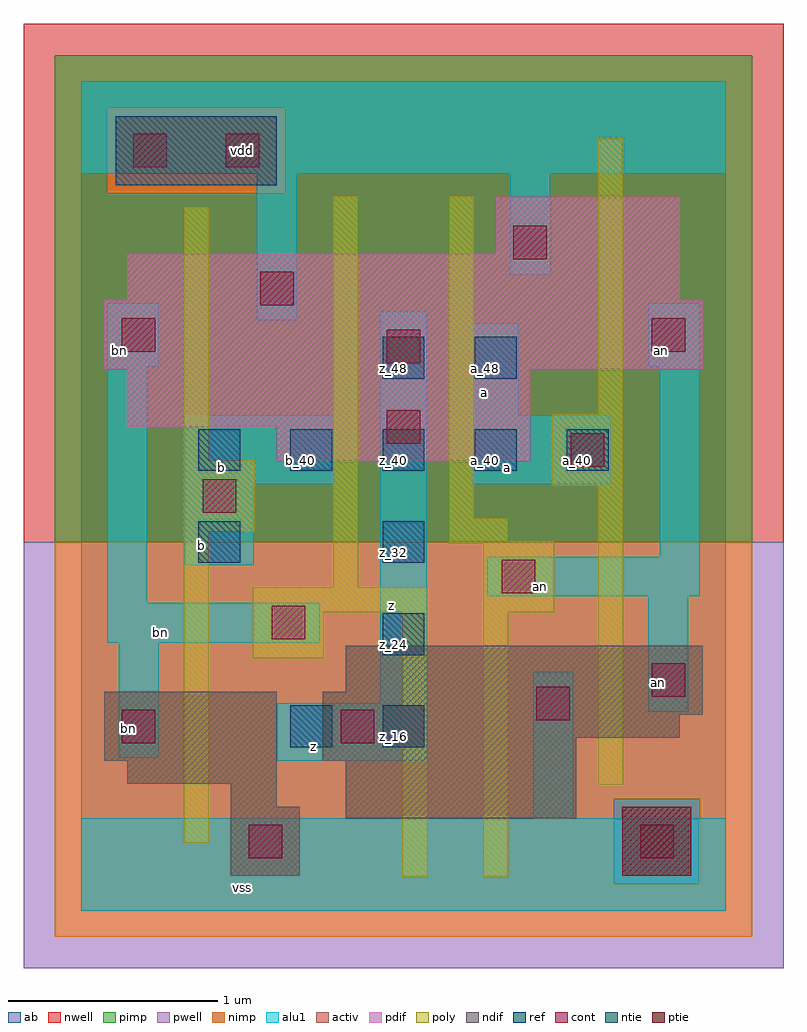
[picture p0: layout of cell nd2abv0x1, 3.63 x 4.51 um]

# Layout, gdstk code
import gdstk
lib = gdstk.Library(unit=1e-6, precision=2.5e-09)
def R(c, l, rs):  # rectangles x0, y0, x1, y1
    for r in rs: c.add(gdstk.rectangle(r[:2], r[2:], *l))
def A(c, l, x, y, w, h, nx, ny, dx, dy):  # array of equal rectangles
    R(c, l, [(x+i*dx, y+j*dy, x+i*dx+w, y+j*dy+h) for i in range(nx) for j in range(ny)])
ndif = (3, 0)
pdif = (4, 0)
ntie = (5, 0)
ptie = (6, 0)
ref = (24, 0)
cont = (25, 0)
pwell = (41, 0)
nwell = (42, 0)
activ = (43, 0)
pimp = (44, 0)
nimp = (45, 0)
poly = (46, 0)
alu1 = (49, 0)
ab = (63, 0)

nd2abv0x1 = lib.new_cell('nd2abv0x1')
R(nd2abv0x1, ndif, [(0.715,0.165,1.045,0.495), (1.265,0.44,2.365,0.715), (0.715,0.495,0.935,0.605), (0.22,0.605,0.935,0.715), (0.11,0.715,0.935,1.045), (1.155,0.715,2.365,0.825), (1.155,0.825,2.86,0.935), (1.155,0.935,2.97,1.045), (1.265,1.045,2.97,1.265)])
R(nd2abv0x1, pdif, [(0.935,2.145,2.145,2.31), (0.22,2.31,2.145,2.585), (0.11,2.585,2.97,2.915), (0.22,2.915,2.86,3.135), (1.98,3.135,2.86,3.41)])
R(nd2abv0x1, ntie, [(0.165,3.465,0.935,3.795)])
R(nd2abv0x1, ptie, [(2.585,0.165,2.915,0.495)])
A(nd2abv0x1, ref, 1.44, 0.78, 0.2, 0.2, 1, 3, 0, 0.44)
A(nd2abv0x1, ref, 0.56, 2.1, 0.2, 0.2, 5, 1, 0.44, 0)
R(nd2abv0x1, ref, [(1,0.78,1.2,0.98), (0.56,1.66,0.76,1.86), (1.44,2.54,1.64,2.74), (1.88,2.54,2.08,2.74)])
R(nd2abv0x1, cont, [(0.8,0.25,0.96,0.41), (2.67,0.25,2.83,0.41), (0.195,0.8,0.355,0.96), (1.24,0.8,1.4,0.96), (2.175,0.91,2.335,1.07), (2.725,1.02,2.885,1.18), (0.91,1.295,1.07,1.455), (2.01,1.515,2.17,1.675), (0.58,1.9,0.74,2.06), (2.34,2.12,2.5,2.28), (1.46,2.23,1.62,2.39), (1.46,2.615,1.62,2.775), (0.195,2.67,0.355,2.83), (2.725,2.67,2.885,2.83), (0.855,2.89,1.015,3.05), (2.065,3.11,2.225,3.27), (0.25,3.55,0.41,3.71), (0.69,3.55,0.85,3.71)])
R(nd2abv0x1, pwell, [(-0.275,-0.275,3.355,1.76)])
R(nd2abv0x1, nwell, [(-0.275,1.76,3.355,4.235)])
R(nd2abv0x1, activ, [(0.715,0.165,1.045,0.495), (2.585,0.165,2.915,0.495), (1.265,0.44,2.365,0.715), (0.715,0.495,0.935,0.605), (0.22,0.605,0.935,0.715), (0.11,0.715,0.935,1.045), (1.155,0.715,2.365,0.825), (1.155,0.825,2.86,0.935), (1.155,0.935,2.97,1.045), (1.265,1.045,2.97,1.265), (0.935,2.145,2.145,2.31), (0.22,2.31,2.145,2.585), (0.11,2.585,2.97,2.915), (0.22,2.915,2.86,3.135), (1.98,3.135,2.86,3.41), (0.165,3.465,0.935,3.795)])
R(nd2abv0x1, pimp, [(2.545,0.125,2.955,0.535), (-0.125,1.76,3.205,3.425), (-0.125,3.425,0.125,3.835), (0.975,3.425,3.205,3.835), (-0.125,3.835,3.205,4.085)])
R(nd2abv0x1, nimp, [(-0.125,-0.125,3.205,0.125), (-0.125,0.125,2.545,0.535), (2.955,0.125,3.205,0.535), (-0.125,0.535,3.205,1.76), (0.125,3.425,0.975,3.835)])
R(nd2abv0x1, poly, [(1.535,0.16,1.655,1.425), (1.92,0.16,2.04,1.425), (0.49,0.325,0.61,1.81), (2.47,0.6,2.59,2.03), (0.82,1.205,1.16,1.425), (0.82,1.425,1.655,1.545), (1.92,1.425,2.26,1.755), (1.205,1.545,1.325,3.415), (1.755,1.755,2.26,1.765), (1.755,1.765,2.04,1.875), (0.49,1.81,0.83,2.15), (1.755,1.875,1.875,3.415), (2.25,2.03,2.59,2.37), (0.49,2.15,0.61,3.36), (2.47,2.37,2.59,3.69)])
R(nd2abv0x1, alu1, [(0,0,3.08,0.44), (2.16,0.44,2.35,1.14), (0.935,0.715,1.65,0.99), (0.18,0.73,0.37,1.28), (2.71,0.95,2.9,1.5), (1.43,0.99,1.65,2.86), (0.125,1.28,1.14,1.47), (0.125,1.47,0.315,2.6), (1.94,1.5,2.955,1.69), (0.495,1.65,0.825,2.035), (2.765,1.69,2.955,2.6), (0.495,2.035,1.21,2.365), (1.87,2.035,2.53,2.365), (1.87,2.365,2.09,2.805), (0.125,2.6,0.37,2.9), (2.71,2.6,2.955,2.9), (0.84,2.82,1.03,3.52), (2.05,3.04,2.24,3.52), (0,3.52,3.08,3.96)])
R(nd2abv0x1, ab, [(0,0,3.08,3.96)])
nd2abv0x1.add(gdstk.Label('vss', (0.77,0.11), layer=49, texttype=0))
nd2abv0x1.add(gdstk.Label('an', (2.7575,1.0875), layer=49, texttype=0))
nd2abv0x1.add(gdstk.Label('z', (1.1125,0.7825), layer=49, texttype=0))
nd2abv0x1.add(gdstk.Label('an', (2.1925,1.5475), layer=49, texttype=0))
nd2abv0x1.add(gdstk.Label('a', (2.035,2.1175), layer=49, texttype=0))
nd2abv0x1.add(gdstk.Label('an', (2.77,2.675), layer=49, texttype=0))
nd2abv0x1.add(gdstk.Label('a', (1.925,2.475), layer=49, texttype=0))
nd2abv0x1.add(gdstk.Label('z', (1.485,1.4575), layer=49, texttype=0))
nd2abv0x1.add(gdstk.Label('bn', (0.2275,0.8675), layer=49, texttype=0))
nd2abv0x1.add(gdstk.Label('bn', (0.3775,1.3275), layer=49, texttype=0))
nd2abv0x1.add(gdstk.Label('b', (0.5775,1.745), layer=49, texttype=0))
nd2abv0x1.add(gdstk.Label('b', (0.6725,2.1175), layer=49, texttype=0))
nd2abv0x1.add(gdstk.Label('bn', (0.185,2.675), layer=49, texttype=0))
nd2abv0x1.add(gdstk.Label('vdd', (0.77,3.63), layer=49, texttype=0))
nd2abv0x1.add(gdstk.Label('b_32', (0.61,1.71), layer=24, texttype=0))
nd2abv0x1.add(gdstk.Label('b_40', (0.61,2.15), layer=24, texttype=0))
nd2abv0x1.add(gdstk.Label('z_16', (1.05,0.83), layer=24, texttype=0))
nd2abv0x1.add(gdstk.Label('b_40', (1.05,2.15), layer=24, texttype=0))
nd2abv0x1.add(gdstk.Label('z_16', (1.49,0.83), layer=24, texttype=0))
nd2abv0x1.add(gdstk.Label('z_24', (1.49,1.27), layer=24, texttype=0))
nd2abv0x1.add(gdstk.Label('z_32', (1.49,1.71), layer=24, texttype=0))
nd2abv0x1.add(gdstk.Label('z_40', (1.49,2.15), layer=24, texttype=0))
nd2abv0x1.add(gdstk.Label('z_48', (1.49,2.59), layer=24, texttype=0))
nd2abv0x1.add(gdstk.Label('a_40', (1.93,2.15), layer=24, texttype=0))
nd2abv0x1.add(gdstk.Label('a_48', (1.93,2.59), layer=24, texttype=0))
nd2abv0x1.add(gdstk.Label('a_40', (2.37,2.15), layer=24, texttype=0))

lib.write_gds('nd2abv0x1.gds')
